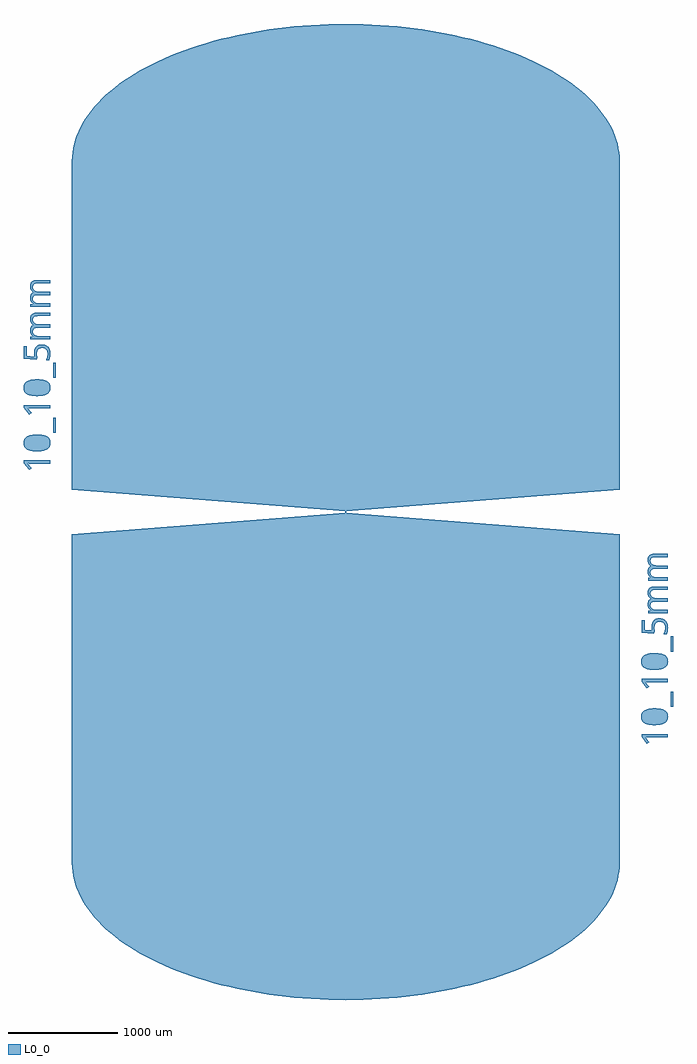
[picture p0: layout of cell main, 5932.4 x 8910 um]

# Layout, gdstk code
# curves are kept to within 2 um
import gdstk
lib = gdstk.Library(unit=1e-6, precision=1e-09)
def R(c, l, rs):  # rectangles x0, y0, x1, y1
    for r in rs: c.add(gdstk.rectangle(r[:2], r[2:], *l))
def P(c, l, *ps):  # polygons
    for p in ps: c.add(gdstk.Polygon(p, *l))
L0_0 = (0, 0)

main = lib.new_cell('main')
R(main, L0_0, [(-1977,-4942,3023,-1938), (3490.9,-3514.8,3513.7,-3376.5), (3490.9,-3010.6,3513.7,-2872.3), (518,-1942,528,-1532), (-1977,-1536,3023,1468), (-2147.1,-1015.5,-2124.3,-877.1), (-2147.1,-511.2,-2124.3,-372.9)])
P(main, L0_0, [(3460.9,-2148.3),(3460.9,-2118.7),(3331.3,-2119.3),(3309.9,-2123.9),(3291.6,-2136.2),(3280.4,-2160.2),(3279.8,-2187.2),(3289.5,-2212.4),(3308.6,-2231.3),(3295.4,-2239.2),(3286.2,-2250.5),(3280.1,-2268.4),(3279.1,-2287.4),(3287,-2313.9),(3306.3,-2334),(3282.2,-2338.3),(3282.2,-2362.4),(3460.9,-2362.4),(3460.9,-2332.7),(3365.2,-2332.7),(3333.8,-2329),(3320.4,-2323.3),(3310.6,-2314.4),(3303.6,-2291.1),(3308.7,-2269.1),(3327.3,-2257.4),(3460.9,-2255.4),(3460.9,-2225.6),(3354,-2225.4),(3334.9,-2222.7),(3320.2,-2216.6),(3309.1,-2205.1),(3304.1,-2190.6),(3304.5,-2172.2),(3312.2,-2158.2),(3324.3,-2151.2),(3337.9,-2148.6)],
  [(3460.9,-2447),(3460.9,-2417.4),(3331.3,-2417.9),(3309.9,-2422.6),(3291.6,-2434.8),(3280.4,-2458.8),(3279.8,-2485.9),(3289.5,-2511),(3308.6,-2530),(3293.1,-2539.9),(3284.8,-2551.8),(3280.1,-2567),(3279.1,-2586.1),(3287,-2612.6),(3306.3,-2632.7),(3282.2,-2636.9),(3282.2,-2661),(3460.9,-2661),(3460.9,-2631.4),(3365.2,-2631.4),(3338.3,-2628.8),(3323.8,-2623.9),(3313,-2615.9),(3306.2,-2604.7),(3303.6,-2589.8),(3308.7,-2567.8),(3327.3,-2556.1),(3460.9,-2554.1),(3460.9,-2524.3),(3354,-2524.1),(3321.7,-2516.2),(3309.1,-2503.7),(3304.1,-2489.3),(3304.5,-2470.9),(3312.2,-2456.8),(3324.3,-2449.9),(3337.9,-2447.3)],
  [(3314.9,-2788.8),(3318.3,-2818.2),(3249.9,-2811.9),(3249.9,-2725.3),(3223,-2725.3),(3223,-2837.6),(3334.9,-2846.6),(3344.2,-2831.9),(3340.1,-2789),(3346.1,-2762.4),(3360.6,-2745.3),(3387.9,-2738.3),(3404.5,-2740.1),(3417.9,-2745.6),(3427.9,-2754.2),(3436.1,-2769.9),(3439,-2790.3),(3437.3,-2812.6),(3431.2,-2836.1),(3423.4,-2851.6),(3451.3,-2851.6),(3457.6,-2838.2),(3464.3,-2795.3),(3458.8,-2756.9),(3445.1,-2732.1),(3434.1,-2722),(3418,-2713.4),(3395.4,-2708.4),(3374.7,-2708.4),(3357.2,-2712.6),(3342.6,-2720.7),(3329.4,-2734.3),(3320.4,-2751.5)],
  [(3336.8,-3147.5),(3391.3,-3144),(3409.7,-3139.3),(3425.4,-3131.1),(3434.1,-3121.5),(3438.4,-3109.1),(3438,-3092.5),(3433,-3080.6),(3423.6,-3071.2),(3407.2,-3063.1),(3364.7,-3056.2),(3299,-3058.1),(3276.5,-3063.1),(3260.1,-3071.2),(3249.5,-3082.4),(3244.9,-3097.1),(3246.7,-3115.6),(3254.8,-3128.1),(3282.3,-3141.9)],
  [(3335.9,-3025.6),(3299.3,-3028.6),(3272.9,-3034.8),(3248.4,-3046.4),(3233.1,-3060.1),(3222.2,-3080.5),(3219.2,-3101.9),(3223.3,-3127.7),(3235.4,-3147.5),(3251.6,-3160.4),(3277,-3170.6),(3335.9,-3177.6),(3397.7,-3172.1),(3425.2,-3162.6),(3443.3,-3150.8),(3458.8,-3129.5),(3464.3,-3101.9),(3460.1,-3076),(3448.1,-3056),(3431.9,-3043.2),(3406.3,-3032.7),(3374.1,-3027.1)],
  [(3460.9,-3261.4),(3223,-3261.4),(3223,-3285.8),(3271.6,-3348.2),(3291.6,-3332.6),(3253.6,-3288.8),(3460.9,-3290.1)],
  [(3336.8,-3651.7),(3387.9,-3648.8),(3409.7,-3643.5),(3423.4,-3636.7),(3433,-3627.5),(3438,-3615.6),(3438.4,-3599),(3433,-3584.8),(3421.6,-3574.1),(3407.2,-3567.4),(3364.7,-3560.4),(3306.5,-3561.4),(3282.3,-3565.6),(3262,-3574.1),(3250.6,-3584.8),(3244.9,-3601.3),(3246.7,-3619.8),(3254.8,-3632.4),(3266.3,-3640.4),(3285.4,-3646.9)],
  [(3341.6,-3529.8),(3304.1,-3532.1),(3268.8,-3540.4),(3248.4,-3550.6),(3231.1,-3566.9),(3221.3,-3588.1),(3219.9,-3617.9),(3225.9,-3638.2),(3242.9,-3658.7),(3265.2,-3671),(3290.1,-3677.8),(3324.9,-3681.5),(3369,-3680.7),(3418,-3670),(3437.9,-3659.3),(3452.3,-3645.2),(3462.2,-3624.1),(3464.1,-3602.1),(3458.8,-3577),(3445.8,-3557.9),(3431.9,-3547.4),(3410.4,-3538.1),(3374.1,-3531.3)],
  [(3460.9,-3765.7),(3223,-3765.7),(3223,-3790.1),(3271.6,-3852.4),(3291.6,-3836.8),(3253.6,-3793),(3460.9,-3794.3)],
  [(-2177,351.1),(-2177,380.7),(-2306.6,380.1),(-2328,375.5),(-2346.3,363.2),(-2357.6,339.2),(-2358.1,312.2),(-2348.5,287),(-2329.3,268.1),(-2344.8,258.2),(-2353.2,246.2),(-2358.3,227.6),(-2358.6,209),(-2350.9,185.5),(-2331.6,165.4),(-2355.7,161.1),(-2355.7,137),(-2177,137),(-2177,166.7),(-2275.7,166.7),(-2306.3,171),(-2317.6,176.1),(-2327.3,185),(-2332.9,197.2),(-2334.4,210.8),(-2332.7,223),(-2327.6,232.3),(-2307.3,242.7),(-2177,244),(-2177,273.8),(-2283.9,274),(-2303,276.7),(-2317.8,282.8),(-2327.9,292.8),(-2333.8,308.8),(-2333.4,327.1),(-2325.8,341.2),(-2316.5,347.1),(-2300.1,350.8)],
  [(-2177,52.4),(-2177,82),(-2312.5,80.7),(-2336.4,72.8),(-2349,61.3),(-2357.6,40.6),(-2357.2,8.8),(-2347.6,-12.9),(-2329.3,-30.6),(-2344.8,-40.5),(-2353.2,-52.4),(-2357.8,-67.6),(-2358.6,-89.6),(-2350.9,-113.2),(-2331.6,-133.3),(-2355.7,-137.5),(-2355.7,-161.6),(-2177,-161.6),(-2177,-132),(-2272.7,-132),(-2304.2,-128.3),(-2317.6,-122.6),(-2327.3,-113.7),(-2332.9,-101.5),(-2334.4,-87.9),(-2332.7,-75.7),(-2327.6,-66.4),(-2307.3,-56),(-2177,-54.7),(-2177,-24.9),(-2283.9,-24.7),(-2305.1,-21.4),(-2317.8,-15.8),(-2327.9,-5.9),(-2333.8,10.1),(-2333.4,28.5),(-2325.8,42.6),(-2313.7,49.5),(-2300.1,52.1)],
  [(-2323,-289.4),(-2319.7,-318.8),(-2387.9,-312.5),(-2387.9,-225.9),(-2415,-225.9),(-2415,-338.2),(-2303,-347.2),(-2293.7,-332.5),(-2297.8,-289.6),(-2291.9,-263),(-2283,-250.5),(-2274,-244.1),(-2250.1,-238.9),(-2231.3,-241.3),(-2218.5,-247.2),(-2208.9,-256.3),(-2201.9,-270.5),(-2199,-290.9),(-2200.4,-311.6),(-2205.7,-333.7),(-2214.6,-352.2),(-2186.6,-352.2),(-2180.4,-338.8),(-2173.8,-299.2),(-2179.1,-257.5),(-2194.9,-230.5),(-2220,-214),(-2242.5,-209),(-2263.2,-209),(-2280.8,-213.2),(-2297.6,-223),(-2308.6,-234.9),(-2316.5,-249.4),(-2321.9,-269.3)],
  [(-2301.1,-648.1),(-2246.6,-644.6),(-2225.7,-638.9),(-2212.6,-631.7),(-2203.9,-622.1),(-2199.5,-609.7),(-2199.9,-593.1),(-2205,-581.2),(-2214.4,-571.8),(-2228.1,-564.7),(-2273.3,-556.8),(-2342.5,-559.3),(-2364.2,-564.7),(-2377.9,-571.8),(-2388.4,-583),(-2393.1,-597.7),(-2391.8,-614.1),(-2383.1,-628.7),(-2355.6,-642.5)],
  [(-2302,-526.2),(-2338.7,-529.2),(-2369.1,-536.8),(-2389.6,-547),(-2404.8,-560.7),(-2415.7,-581.1),(-2418.6,-606.6),(-2413.4,-631.5),(-2402.6,-648.2),(-2386.3,-661),(-2365,-670),(-2338.6,-675.6),(-2302,-678.2),(-2240.2,-672.7),(-2212.7,-663.2),(-2194.7,-651.4),(-2179.1,-630.1),(-2173.8,-606.3),(-2177.8,-576.6),(-2189.9,-556.6),(-2206.1,-543.8),(-2231.7,-533.3),(-2263.9,-527.7)],
  [(-2177,-762),(-2415,-762),(-2415,-786.5),(-2366.3,-848.8),(-2346.3,-833.2),(-2384.4,-789.4),(-2177,-790.7)],
  [(-2301.1,-1152.3),(-2250.1,-1149.4),(-2231.1,-1145.1),(-2214.5,-1137.3),(-2205,-1128.1),(-2199.9,-1116.2),(-2199.5,-1099.6),(-2205,-1085.4),(-2216.4,-1074.7),(-2230.8,-1068),(-2273.3,-1061),(-2335.2,-1062.5),(-2355.6,-1066.2),(-2375.9,-1074.7),(-2387.3,-1085.4),(-2393.1,-1101.9),(-2391.8,-1118.4),(-2383.1,-1133),(-2371.6,-1141),(-2352.5,-1147.5)],
  [(-2296.3,-1030.4),(-2333.8,-1032.7),(-2365.1,-1039.7),(-2389.6,-1051.2),(-2406.8,-1067.5),(-2417.4,-1092.1),(-2418,-1118.5),(-2410.4,-1141.8),(-2395.1,-1159.3),(-2372.7,-1171.6),(-2347.9,-1178.4),(-2313.1,-1182.1),(-2274.2,-1181.7),(-2244.7,-1177.9),(-2216.2,-1169.1),(-2200.1,-1159.9),(-2185.7,-1145.8),(-2176.7,-1128.1),(-2173.8,-1102.7),(-2179.1,-1077.6),(-2192.2,-1058.5),(-2209.4,-1046.2),(-2231.7,-1037.6),(-2258.9,-1032.5)],
  [(-2177,-1266.3),(-2415,-1266.3),(-2415,-1290.7),(-2366.3,-1353),(-2346.3,-1337.4),(-2384.4,-1293.6),(-2177,-1294.9)],
  [(-1977,-1942),(3023,-1942),(523,-1742.4),(528,-1742),(518,-1742),(523,-1742.4)],
  [(-1977,-1532),(523,-1731.6),(518,-1732),(528,-1732),(523,-1731.6),(3023,-1532)],
  [(-1977,-4942),(-1972.1,-5020.5),(-1957.3,-5098.7),(-1932.7,-5176.2),(-1916.8,-5214.7),(-1898.5,-5252.9),(-1854.7,-5328.3),(-1829.2,-5365.4),(-1771.4,-5438.4),(-1667.8,-5544.2),(-1544.7,-5644.6),(-1403.3,-5738.8),(-1244.8,-5825.9),(-1070.6,-5905.1),(-882.2,-5975.8),(-681.4,-6037.4),(-469.9,-6089.2),(-323.8,-6118.1),(-174.5,-6142.4),(54.5,-6169.9),(287.7,-6186.5),(523,-6192),(758.3,-6186.5),(991.4,-6169.9),(1220.5,-6142.4),(1369.8,-6118.1),(1515.9,-6089.2),(1727.3,-6037.4),(1928.3,-5975.8),(2116.6,-5905.1),(2290.8,-5825.9),(2449.3,-5738.8),(2545.5,-5676.7),(2633.8,-5611.8),(2750.5,-5509.5),(2785.1,-5474.2),(2847.4,-5402.1),(2875.2,-5365.4),(2923.7,-5290.7),(2944.4,-5252.9),(2978.7,-5176.2),(3003.3,-5098.7),(3011.9,-5059.6),(3018,-5020.5),(3023,-4942)],
  [(-1977,-4942),(-1972.1,-5020.5),(-1957.3,-5098.7),(-1932.7,-5176.2),(-1916.8,-5214.7),(-1898.5,-5252.9),(-1854.7,-5328.3),(-1829.2,-5365.4),(-1771.4,-5438.4),(-1667.8,-5544.2),(-1544.7,-5644.6),(-1403.3,-5738.8),(-1244.8,-5825.9),(-1070.6,-5905.1),(-882.2,-5975.8),(-681.4,-6037.4),(-469.9,-6089.2),(-323.8,-6118.1),(-174.5,-6142.4),(54.5,-6169.9),(287.7,-6186.5),(523,-6192),(758.3,-6186.5),(991.4,-6169.9),(1220.5,-6142.4),(1369.8,-6118.1),(1515.9,-6089.2),(1727.3,-6037.4),(1928.3,-5975.8),(2116.6,-5905.1),(2290.8,-5825.9),(2449.3,-5738.8),(2545.5,-5676.7),(2633.8,-5611.8),(2750.5,-5509.5),(2785.1,-5474.2),(2847.4,-5402.1),(2875.2,-5365.4),(2923.7,-5290.7),(2944.4,-5252.9),(2978.7,-5176.2),(3003.3,-5098.7),(3011.9,-5059.6),(3018,-5020.5),(3023,-4942)],
  [(3023,1468),(3021.7,1507.3),(3011.9,1585.6),(3003.3,1624.7),(2978.7,1702.2),(2944.4,1778.9),(2923.7,1816.7),(2900.6,1854.3),(2847.4,1928.2),(2785.1,2000.2),(2750.5,2035.5),(2633.8,2137.8),(2545.5,2202.7),(2449.3,2264.8),(2290.8,2351.9),(2116.6,2431.1),(1928.3,2501.8),(1727.3,2563.4),(1515.9,2615.2),(1369.8,2644.1),(1220.5,2668.4),(991.4,2695.9),(758.3,2712.5),(523,2718),(287.7,2712.5),(54.5,2695.9),(-174.5,2668.4),(-323.8,2644.1),(-469.9,2615.2),(-681.4,2563.4),(-882.2,2501.8),(-1070.6,2431.1),(-1244.8,2351.9),(-1403.3,2264.8),(-1499.6,2202.7),(-1587.8,2137.8),(-1704.5,2035.5),(-1739.1,2000.2),(-1801.4,1928.2),(-1854.7,1854.3),(-1877.7,1816.7),(-1898.5,1778.9),(-1932.7,1702.2),(-1957.3,1624.7),(-1965.9,1585.6),(-1972.1,1546.5),(-1977,1468)],
  [(3023,1468),(3021.7,1507.3),(3011.9,1585.6),(3003.3,1624.7),(2978.7,1702.2),(2944.4,1778.9),(2923.7,1816.7),(2900.6,1854.3),(2847.4,1928.2),(2785.1,2000.2),(2750.5,2035.5),(2633.8,2137.8),(2545.5,2202.7),(2449.3,2264.8),(2290.8,2351.9),(2116.6,2431.1),(1928.3,2501.8),(1727.3,2563.4),(1515.9,2615.2),(1369.8,2644.1),(1220.5,2668.4),(991.4,2695.9),(758.3,2712.5),(523,2718),(287.7,2712.5),(54.5,2695.9),(-174.5,2668.4),(-323.8,2644.1),(-469.9,2615.2),(-681.4,2563.4),(-882.2,2501.8),(-1070.6,2431.1),(-1244.8,2351.9),(-1403.3,2264.8),(-1499.6,2202.7),(-1587.8,2137.8),(-1704.5,2035.5),(-1739.1,2000.2),(-1801.4,1928.2),(-1854.7,1854.3),(-1877.7,1816.7),(-1898.5,1778.9),(-1932.7,1702.2),(-1957.3,1624.7),(-1965.9,1585.6),(-1972.1,1546.5),(-1977,1468)])

lib.write_gds('main.gds')
